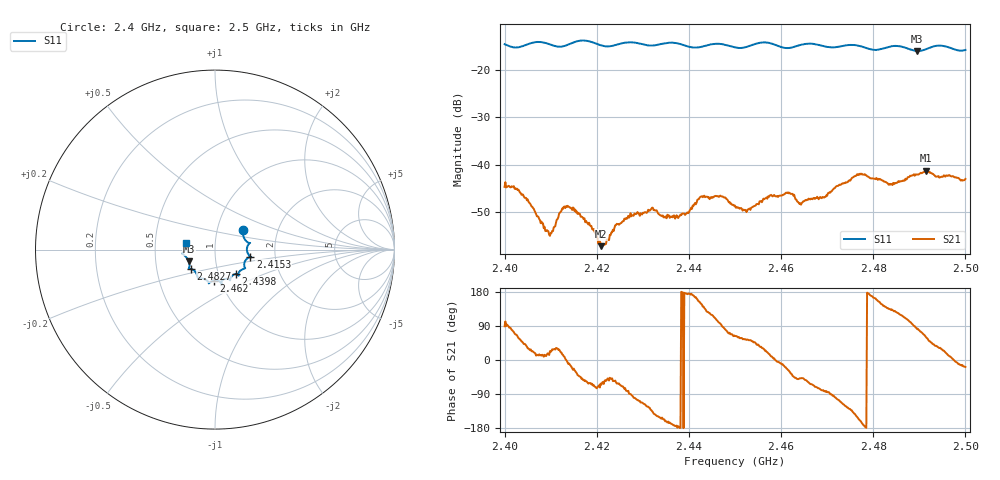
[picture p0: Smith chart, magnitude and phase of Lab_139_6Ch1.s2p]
# Hz S RI R 50
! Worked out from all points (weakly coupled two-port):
!   601 points, 2.4 GHz to 2.5 GHz, reference 50 ohm
!   highest |S21| = -41.33 dB at 2.4915 GHz (marker M1); lowest = -57.3 dB at 2.421 GHz (marker M2)
!   lowest |S11| = -15.9 dB at 2.4895 GHz (marker M3), VSWR 1.38, Z = 37 - j5.03 ohm
!   |S11| at or under -10 dB: start of sweep to end of sweep
!   S12 and S22 are empty: the file has one direction only
!   S11 on the Smith chart (normalised r, x): 2.4 GHz: 1.33, +0.30; 2.4153 GHz: 1.48, -0.12; 2.4398 GHz: 1.21, -0.34; 2.462 GHz: 0.93, -0.33; 2.4827 GHz: 0.75, -0.17; 2.5 GHz: 0.72, +0.06
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2.4e9  0.1555 0.107  9.73e-05 0.0058  0 0  0 0
2.4035e9  0.1697 0.0522  0.00305 0.00394  0 0  0 0
2.409667e9  0.1869 0.0293  0.00176 0.000412  0 0  0 0
2.412833e9  0.1795 -0.0123  0.00351 0.000619  0 0  0 0
2.415333e9  0.1963 -0.0389  0.00289 -0.00165  0 0  0 0
2.416667e9  0.202 -0.043  0.00183 -0.00212  0 0  0 0
2.421e9  0.1753 -0.0534  0.000577 -0.00123  0 0  0 0
2.426833e9  0.1687 -0.1031  0.000435 -0.00282  0 0  0 0
2.433333e9  0.1301 -0.134  -0.00257 -0.00157  0 0  0 0
2.439833e9  0.1154 -0.1359  -0.00304 0.000289  0 0  0 0
2.442833e9  0.0897 -0.1534  -0.00382 0.00257  0 0  0 0
2.45e9  0.0644 -0.1624  0.00164 0.00328  0 0  0 0
2.452833e9  0.0384 -0.1746  0.002 0.0027  0 0  0 0
2.462e9  -0.00563 -0.1728  0.00408 -0.00272  0 0  0 0
2.464e9  -0.0279 -0.1821  0.00253 -0.00286  0 0  0 0
2.466667e9  -0.0346 -0.1879  0.00189 -0.00389  0 0  0 0
2.477e9  -0.0971 -0.153  -0.00724 -0.00291  0 0  0 0
2.482667e9  -0.1349 -0.1082  -0.00505 0.00416  0 0  0 0
2.483333e9  -0.14 -0.1079  -0.00433 0.00431  0 0  0 0
2.4895e9  -0.1456 -0.0662  0.00111 0.00777  0 0  0 0
2.4915e9  -0.1627 -0.0396  0.00435 0.0074  0 0  0 0
2.5e9  -0.1593 0.0391  0.00667 -0.00221  0 0  0 0
